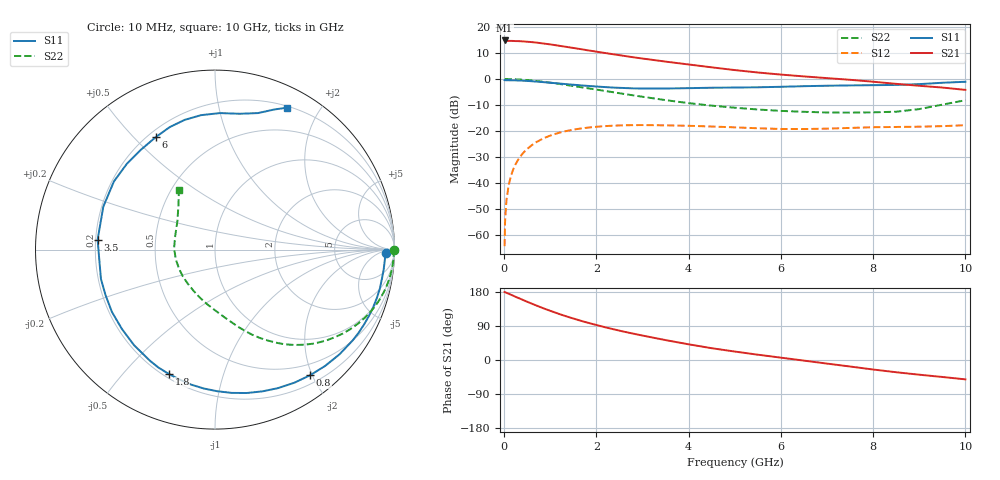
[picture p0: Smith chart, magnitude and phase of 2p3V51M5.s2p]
! (c) 2009  Infineon Technologies AG, Munich
! Infineon Technologies  Discrete & RF Semiconductors
! BFP420
! VCE =  3.5 V,  IC =  1.5 mA
! Common Emitter S-Parameters:  Nov 2009
# GHz  S  MA  R  50
!  f  S11  S21  S12  S22
! GHz  MAG  ANG  MAG  ANG  MAG  ANG  MAG  ANG
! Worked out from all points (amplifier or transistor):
!   46 points, 10 MHz to 10 GHz, reference 50 ohm
!   highest |S21| = 14.9 dB at 10 MHz (marker M1)
!   |S21| within 3 dB of that: start of sweep to 1.537 GHz
!   unconditionally stable (mu >= 1): 4.149 GHz to end of sweep
!   at 300 MHz: K = 0.04, MSG = 22.9 dB, |S12| = -31.2 dB
!   at 1.7 GHz: K = 0.30, MSG = 15.2 dB, |S12| = -19.0 dB
!   at 10 GHz: K = 1.27, MAG = 3.7 dB, |S12| = -17.8 dB
!   lowest NFmin = 0.52 dB at 900 MHz
!   S11 on the Smith chart (normalised r, x): 10 MHz: 35, -14; 800 MHz: 0.32, -1.97; 1.8 GHz: 0.22, -0.67; 3.5 GHz: 0.21, +0.04; 6 GHz: 0.23, +0.58; 10 GHz: 0.22, +1.60
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0.01  0.9522 -1.1  5.538 179.3  0.0006 53.0  0.9962 0.0
0.02  0.9491 -1.4  5.367 179.2  0.0018 87.5  0.9954 -0.7
0.05  0.9481 -3.4  5.396 177.2  0.0046 85.3  0.9959 -1.7
0.15  0.9442 -10.0  5.428 172.1  0.0138 83.5  0.9929 -5.4
0.35  0.9338 -23.4  5.353 161.6  0.032 76.3  0.9758 -12.5
0.5  0.9189 -33.4  5.236 153.7  0.0449 70.6  0.9543 -17.8
0.8  0.878 -52.9  4.906 138.9  0.0681 59.5  0.8964 -27.5
1  0.8479 -65.5  4.647 129.8  0.0812 52.8  0.851 -33.4
1.2  0.8184 -77.5  4.367 121.1  0.0924 46.4  0.8031 -38.9
1.4  0.7892 -89.1  4.097 113.2  0.1017 40.5  0.7561 -43.9
1.7  0.7499 -105.4  3.722 102.2  0.1125 32.6  0.688 -50.5
1.8  0.739 -110.4  3.59 98.9  0.1153 30.1  0.6668 -52.5
2.2  0.698 -130.2  3.163 86.1  0.1238 21.3  0.5866 -59.8
2.6  0.6711 -148.9  2.793 74.7  0.1282 13.4  0.5153 -66.6
3  0.6562 -165.6  2.482 64.5  0.1294 6.9  0.4554 -72.6
3.5  0.6563 175.2  2.167 52.5  0.128 0.2  0.3919 -80.4
4.5  0.6793 146.0  1.68 31.1  0.1215 -9.3  0.3067 -98.4
5.5  0.6928 126.5  1.336 14.0  0.1124 -14.0  0.2585 -117.7
6  0.7083 117.8  1.218 6.2  0.109 -14.4  0.243 -128.7
7  0.7422 103.2  1.041 -9.5  0.1105 -14.0  0.2266 -152.4
8.5  0.7694 79.6  0.807 -32.3  0.1191 -18.2  0.2345 160.9
10  0.8856 63.2  0.618 -51.1  0.1288 -20.6  0.3901 121.0
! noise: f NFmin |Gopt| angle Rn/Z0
0.9  0.52  0.55  33  0.27
1.8  1.07  0.35  77  0.21
2.4  1.18  0.36  101  0.18
3  1.41  0.36  134  0.13
4  1.68  0.4  -172  0.1
5  2.08  0.44  -130  0.32
6  2.89  0.57  -114  0.39
